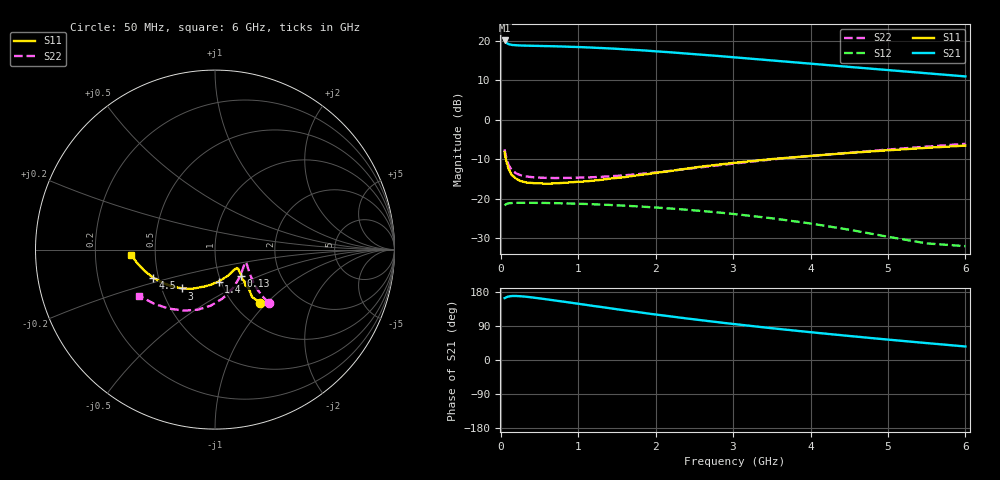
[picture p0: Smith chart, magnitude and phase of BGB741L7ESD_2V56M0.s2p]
! (c) 2009  Infineon Technologies AG, Munich
!  Infineon Technologies AG
!  BGB741L7ESD
!  Vce = 2.5V, Ic = 6.0mA
!  DATUM: 30.06.2009 10:08:38
# GHz  S  MA  R  50
!f  S11  S21  S12  S22
!GHz  Mag  Ang  Mag  Ang  Mag  Ang  Mag  Ang
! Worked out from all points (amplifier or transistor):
!   44 points, 50 MHz to 6 GHz, reference 50 ohm
!   highest |S21| = 20.0 dB at 50 MHz (marker M1)
!   |S21| within 3 dB of that: start of sweep to 2.192 GHz
!   unconditionally stable (mu >= 1): 193.2 MHz to end of sweep
!   at 120 MHz: K = 0.97, MSG = 20.1 dB, |S12| = -21.1 dB
!   at 1 GHz: K = 1.03, MAG = 18.7 dB, |S12| = -21.3 dB
!   at 6 GHz: K = 3.15, MAG = 13.6 dB, |S12| = -32.0 dB
!   lowest NFmin = 1.02 dB at 450 MHz
!   S11 on the Smith chart (normalised r, x): 50 MHz: 1.31, -0.92; 130 MHz: 1.27, -0.40; 1.4 GHz: 0.98, -0.36; 3 GHz: 0.64, -0.30; 4.5 GHz: 0.47, -0.17; 6 GHz: 0.36, -0.03
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0.05  0.3901 -49.6  10.05 163.3  0.0821 22.7  0.4205 -44.8
0.07  0.3054 -50.4  9.44 165.4  0.08522 16.1  0.3355 -43.6
0.08  0.278 -48.6  9.249 166.2  0.08606 14.1  0.3087 -42.4
0.09  0.262 -49.8  9.184 167.0  0.08678 12.4  0.2877 -41.0
0.1  0.2394 -47.0  9.036 167.3  0.08722 11.1  0.2715 -39.5
0.13  0.2086 -45.5  8.895 168.5  0.08804 8.0  0.2402 -35.4
0.2  0.179 -41.5  8.739 168.9  0.08867 4.1  0.2088 -28.9
0.35  0.1588 -40.1  8.627 166.5  0.0888 -0.0  0.1898 -23.1
0.7  0.1561 -52.7  8.481 157.0  0.08792 -5.4  0.1825 -24.0
1.1  0.1656 -70.9  8.228 145.5  0.08572 -10.0  0.1852 -30.8
1.4  0.1791 -83.5  7.967 136.9  0.08342 -13.1  0.1918 -38.1
1.5  0.1833 -87.1  7.875 133.9  0.08256 -14.2  0.1945 -40.5
1.8  0.1999 -98.4  7.564 125.6  0.0796 -16.9  0.2057 -48.6
2.2  0.2244 -111.1  7.105 114.9  0.07505 -20.4  0.2256 -60.1
2.6  0.2556 -121.3  6.624 104.8  0.06985 -23.4  0.2506 -71.4
3  0.2833 -130.2  6.165 95.2  0.0642 -25.9  0.2776 -82.1
3.5  0.317 -139.9  5.615 83.9  0.05657 -28.1  0.3136 -94.4
4  0.3476 -148.2  5.111 73.4  0.04857 -29.0  0.3477 -105.8
4.5  0.3792 -155.8  4.652 63.4  0.04052 -27.4  0.3823 -117.2
5  0.4096 -163.1  4.241 53.8  0.033 -21.9  0.4186 -128.4
5.5  0.4397 -170.1  3.865 44.6  0.02718 -10.0  0.4556 -138.8
6  0.4698 -176.6  3.524 35.7  0.02508 8.6  0.494 -148.6
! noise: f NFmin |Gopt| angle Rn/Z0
0.45  1.02  0.04  44  0.14
0.9  1.03  0.07  73  0.16
1.8  1.06  0.09  84  0.2
2.4  1.11  0.11  92  0.26
3  1.18  0.14  132  0.22
5.5  1.82  0.18  160  0.17
